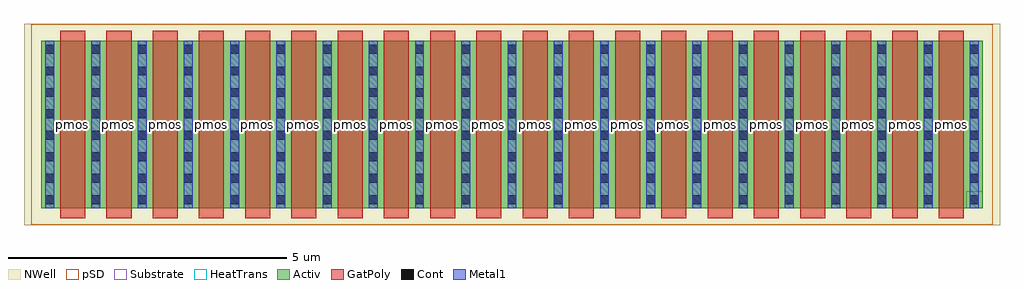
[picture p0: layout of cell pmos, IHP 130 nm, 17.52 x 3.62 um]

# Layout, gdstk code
import gdstk
lib = gdstk.Library(unit=1e-6, precision=5e-09)
def R(c, l, rs):  # rectangles x0, y0, x1, y1
    for r in rs: c.add(gdstk.rectangle(r[:2], r[2:], *l))
def A(c, l, x, y, w, h, nx, ny, dx, dy):  # array of equal rectangles
    R(c, l, [(x+i*dx, y+j*dy, x+i*dx+w, y+j*dy+h) for i in range(nx) for j in range(ny)])
Activ = (1, 0)
GatPoly = (5, 0)
Cont = (6, 0)
Metal1 = (8, 0)
pSD = (14, 0)
NWell = (31, 0)
Substrate = (40, 0)
HeatTrans = (51, 0)

pmos = lib.new_cell('pmos')
A(pmos, Activ, 0, 0, 0.3, 0.3, 21, 1, 0.83, 0)
R(pmos, Activ, [(0,0,16.9,3)])
A(pmos, GatPoly, 0.34, -0.18, 0.45, 3.36, 20, 1, 0.83, 0)
R(pmos, GatPoly, [(0.34,-0.18,0.79,3.18)])
A(pmos, Cont, 0.07, 0.07, 0.16, 0.16, 21, 7, 0.83, 0.385)
A(pmos, Cont, 0.07, 2.77, 0.16, 0.16, 21, 1, 0.83, 0)
A(pmos, Metal1, 0.9, 0, 0.16, 3, 20, 1, 0.83, 0)
R(pmos, Metal1, [(0.07,0,0.23,3), (0.07,0,0.23,3), (0.9,0,1.06,3)])
R(pmos, pSD, [(-0.18,-0.3,17.08,3.3)])
R(pmos, NWell, [(-0.31,-0.31,17.21,3.31)])
R(pmos, Substrate, [(16.6,0,16.9,0.3)])
A(pmos, HeatTrans, 0.34, -0.18, 0.45, 3.36, 20, 1, 0.83, 0)
pmos.add(gdstk.Label('pmos', (0.565,1.5), layer=63, texttype=0))
pmos.add(gdstk.Label('pmos', (0.565,1.5), layer=51, texttype=0))
pmos.add(gdstk.Label('pmos', (1.395,1.5), layer=51, texttype=0))
pmos.add(gdstk.Label('pmos', (2.225,1.5), layer=51, texttype=0))
pmos.add(gdstk.Label('pmos', (3.055,1.5), layer=51, texttype=0))
pmos.add(gdstk.Label('pmos', (3.885,1.5), layer=51, texttype=0))
pmos.add(gdstk.Label('pmos', (4.715,1.5), layer=51, texttype=0))
pmos.add(gdstk.Label('pmos', (5.545,1.5), layer=51, texttype=0))
pmos.add(gdstk.Label('pmos', (6.375,1.5), layer=51, texttype=0))
pmos.add(gdstk.Label('pmos', (7.205,1.5), layer=51, texttype=0))
pmos.add(gdstk.Label('pmos', (8.035,1.5), layer=51, texttype=0))
pmos.add(gdstk.Label('pmos', (8.865,1.5), layer=51, texttype=0))
pmos.add(gdstk.Label('pmos', (9.695,1.5), layer=51, texttype=0))
pmos.add(gdstk.Label('pmos', (10.525,1.5), layer=51, texttype=0))
pmos.add(gdstk.Label('pmos', (11.355,1.5), layer=51, texttype=0))
pmos.add(gdstk.Label('pmos', (12.185,1.5), layer=51, texttype=0))
pmos.add(gdstk.Label('pmos', (13.015,1.5), layer=51, texttype=0))
pmos.add(gdstk.Label('pmos', (13.845,1.5), layer=51, texttype=0))
pmos.add(gdstk.Label('pmos', (14.675,1.5), layer=51, texttype=0))
pmos.add(gdstk.Label('pmos', (15.505,1.5), layer=51, texttype=0))
pmos.add(gdstk.Label('pmos', (16.335,1.5), layer=51, texttype=0))

lib.write_gds('pmos.gds')
